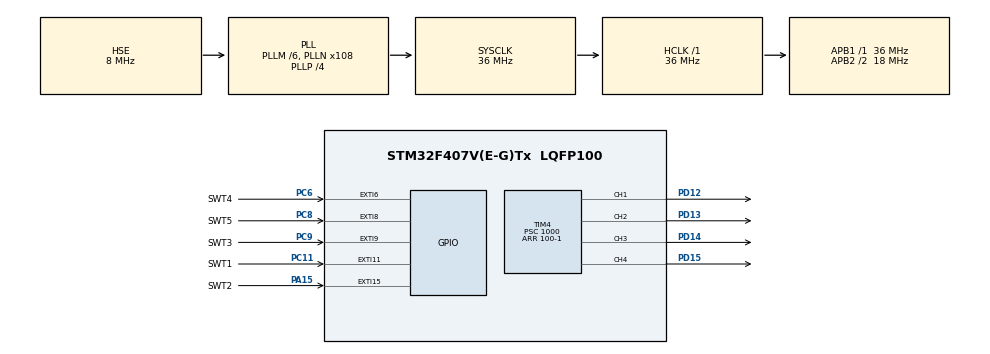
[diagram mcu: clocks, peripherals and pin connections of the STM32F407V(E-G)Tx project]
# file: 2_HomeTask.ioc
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Mcu.Family=STM32F4
Mcu.Name=STM32F407V(E-G)Tx
Mcu.Package=LQFP100
NVIC.EXTI15_10_IRQn=true\:0\:0\:false\:false\:true\:true\:true
NVIC.EXTI9_5_IRQn=true\:0\:0\:false\:false\:true\:true\:true
NVIC.PriorityGroup=NVIC_PRIORITYGROUP_4
PA15.GPIO_Label=SWT2
PA15.GPIO_ModeDefaultEXTI=GPIO_MODE_IT_FALLING
PA15.GPIO_PuPd=GPIO_NOPULL
PA15.Signal=GPXTI15
PC11.GPIO_Label=SWT1
PC11.Signal=GPXTI11
PC6.GPIO_Label=SWT4
PC6.Signal=GPXTI6
PC8.GPIO_Label=SWT5
PC8.Signal=GPXTI8
PC9.GPIO_Label=SWT3
PC9.Signal=GPXTI9
PD12.GPIO_PuPd=GPIO_PULLDOWN
PD12.GPIO_Speed=GPIO_SPEED_FREQ_LOW
PD12.Signal=S_TIM4_CH1
PD13.GPIO_PuPd=GPIO_PULLDOWN
PD13.GPIO_Speed=GPIO_SPEED_FREQ_LOW
PD13.Signal=S_TIM4_CH2
PD14.GPIO_PuPd=GPIO_PULLDOWN
PD14.GPIO_Speed=GPIO_SPEED_FREQ_LOW
PD14.Signal=S_TIM4_CH3
PD15.GPIO_PuPd=GPIO_PULLDOWN
PD15.GPIO_Speed=GPIO_SPEED_FREQ_LOW
PD15.Signal=S_TIM4_CH4
PH0-OSC_IN.Mode=HSE-External-Oscillator
PH0-OSC_IN.Signal=RCC_OSC_IN
PH1-OSC_OUT.Mode=HSE-External-Oscillator
PH1-OSC_OUT.Signal=RCC_OSC_OUT
ProjectManager.HeapSize=0x200
ProjectManager.StackSize=0x400
ProjectManager.TargetToolchain=STM32CubeIDE
RCC.48MHZClocksFreq_Value=36000000
RCC.AHBFreq_Value=36000000
RCC.APB1Freq_Value=36000000
RCC.APB1TimFreq_Value=36000000
RCC.APB2CLKDivider=RCC_HCLK_DIV2
RCC.APB2Freq_Value=18000000
RCC.APB2TimFreq_Value=36000000
RCC.CortexFreq_Value=36000000
RCC.HCLKFreq_Value=36000000
RCC.HSE_VALUE=8000000
RCC.HSI_VALUE=16000000
RCC.LSE_VALUE=32768
RCC.PLLM=6
RCC.PLLN=108
RCC.PLLP=RCC_PLLP_DIV4
RCC.PLLSourceVirtual=RCC_PLLSOURCE_HSE
RCC.SYSCLKFreq_VALUE=36000000
RCC.SYSCLKSource=RCC_SYSCLKSOURCE_PLLCLK
RCC.VCOOutputFreq_Value=144000000
SH.S_TIM4_CH1.0=TIM4_CH1,PWM Generation1 CH1
SH.S_TIM4_CH2.0=TIM4_CH2,PWM Generation2 CH2
SH.S_TIM4_CH3.0=TIM4_CH3,PWM Generation3 CH3
SH.S_TIM4_CH4.0=TIM4_CH4,PWM Generation4 CH4
TIM4.Channel-PWM\ Generation1\ CH1=TIM_CHANNEL_1
TIM4.Channel-PWM\ Generation2\ CH2=TIM_CHANNEL_2
TIM4.Channel-PWM\ Generation3\ CH3=TIM_CHANNEL_3
TIM4.Channel-PWM\ Generation4\ CH4=TIM_CHANNEL_4
TIM4.Period=100-1
TIM4.Prescaler=1000
TIM4.Pulse-PWM\ Generation4\ CH4=0
VP_TIM4_VS_ClockSourceINT.Mode=Internal
board=custom

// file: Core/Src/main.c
/* USER CODE BEGIN Header */
/**
 ******************************************************************************
 * @file           : main.c
 * @brief          : Main program body
 ******************************************************************************
 * @attention
 *
 * <h2><center>&copy; Copyright (c) 2021 STMicroelectronics.
 * All rights reserved.</center></h2>
 *
 * This software component is licensed by ST under BSD 3-Clause license,
 * the "License"; You may not use this file except in compliance with the
 * License. You may obtain a copy of the License at:
 *                        opensource.org/licenses/BSD-3-Clause
 *
 ******************************************************************************
 */
/* USER CODE END Header */
#include "main.h"

/* USER CODE BEGIN PD */
#define DUTYCYCLE_STEP 5
/* USER CODE END PD */

TIM_HandleTypeDef htim4;

/* USER CODE BEGIN PV */
enum {
	DISABLED, GREEN, ORANGE, RED, BLUE
} LED;

enum {
	LEDSELECT, FR_STEP_UP, FR_STEP_DOWN, DC_STEP_UP, DC_STEP_DOWN
} mode;
/* USER CODE END PV */

void SystemClock_Config(void);
static void MX_GPIO_Init(void);
static void MX_TIM4_Init(void);

/* USER CODE BEGIN 0 */
void PMW_Generate(int32_t mode) {
	const uint32_t prescallers[] = { 360, 180, 120, 90, 72, 60, 51, 45, 40, 36 }; //set 1, 2, 3, 4, 5, 6, 7, 8, 9, 10 kHz output PWM frequency
	static uint32_t arr_counter;
	static uint32_t dutyCycle = 10;
	switch (mode) {
	case LEDSELECT: {
		LED = (LED == BLUE) ? DISABLED : (LED + 1);
		break;
	}
	case DC_STEP_UP: {
		dutyCycle = (dutyCycle < 100) ? (dutyCycle + DUTYCYCLE_STEP) : 100;
		break;
	}
	case DC_STEP_DOWN: {
		dutyCycle = (dutyCycle > 0) ? (dutyCycle - DUTYCYCLE_STEP) : 0;
		break;
	}
	case FR_STEP_UP: {
		arr_counter = (arr_counter < 10) ? (arr_counter + 1) : 9;
		TIM4->PSC = prescallers[arr_counter] - 1;
		break;
	}
	case FR_STEP_DOWN: {
		arr_counter = (arr_counter > 0) ? (arr_counter - 1) : 0;
		TIM4->PSC = prescallers[arr_counter] - 1;
		break;
	}
	}
	switch (LED) {
	case DISABLED: {
		TIM4->CCR1 = 0;
		TIM4->CCR2 = 0;
		TIM4->CCR3 = 0;
		TIM4->CCR4 = 0;
		break;
	}
	case GREEN: {
		TIM4->CCR1 = dutyCycle;
		TIM4->CCR2 = 0;
		TIM4->CCR3 = 0;
		TIM4->CCR4 = 0;
		break;
	}
	case ORANGE: {
		TIM4->CCR1 = 0;
		TIM4->CCR2 = dutyCycle;
		TIM4->CCR3 = 0;
		TIM4->CCR4 = 0;
		break;
	}
	case RED: {
		TIM4->CCR1 = 0;
		TIM4->CCR2 = 0;
		TIM4->CCR3 = dutyCycle;
		TIM4->CCR4 = 0;
		break;
	}
	case BLUE: {
		TIM4->CCR1 = 0;
		TIM4->CCR2 = 0;
		TIM4->CCR3 = 0;
		TIM4->CCR4 = dutyCycle;
		break;
	}
	}
}

void HAL_GPIO_EXTI_Callback(uint16_t GPIO_Pin) {
	switch (GPIO_Pin) {
	case SWT2_Pin: {
		PMW_Generate(LEDSELECT); // LED selector
	}
		break;
	case SWT1_Pin: {
		PMW_Generate(DC_STEP_DOWN); // Decrease duty cycle
	}
		break;
	case SWT3_Pin: {
		PMW_Generate(DC_STEP_UP); // Increase duty cycle
	}
		break;
	case SWT4_Pin: {
		PMW_Generate(FR_STEP_UP); // Increase frequency
	}
		break;
	case SWT5_Pin: {
		PMW_Generate(FR_STEP_DOWN); // Decrease frequency
	}
		break;
	}
}
/* USER CODE END 0 */

int main(void) {

	/* MCU Configuration--------------------------------------------------------*/

	/* Reset of all peripherals, Initializes the Flash interface and the Systick. */
	HAL_Init();

	/* Configure the system clock */
	SystemClock_Config();

	/* Initialize all configured peripherals */
	MX_GPIO_Init();
	MX_TIM4_Init();
	/* USER CODE BEGIN 2 */
	HAL_TIM_PWM_Start(&htim4, TIM_CHANNEL_1);
	HAL_TIM_PWM_Start(&htim4, TIM_CHANNEL_2);
	HAL_TIM_PWM_Start(&htim4, TIM_CHANNEL_3);
	HAL_TIM_PWM_Start(&htim4, TIM_CHANNEL_4);
	LED = GREEN; //set startup green LED
	TIM4->PSC = 360 - 1; //set startup prescaller 360-1 to 1000 kHz output PWM frequency
	TIM4->ARR = 100 - 1; //set counter period
	TIM4->CCR1 = 10; //set startup duty cycle for green led channel
	/* USER CODE END 2 */

	/* Infinite loop */
	while (1) {

	}
}

void SystemClock_Config(void) {
	RCC_OscInitTypeDef RCC_OscInitStruct = { 0 };
	RCC_ClkInitTypeDef RCC_ClkInitStruct = { 0 };

	/** Configure the main internal regulator output voltage
	 */
	__HAL_RCC_PWR_CLK_ENABLE();
	__HAL_PWR_VOLTAGESCALING_CONFIG(PWR_REGULATOR_VOLTAGE_SCALE1);
	/** Initializes the RCC Oscillators according to the specified parameters
	 * in the RCC_OscInitTypeDef structure.
	 */
	RCC_OscInitStruct.OscillatorType = RCC_OSCILLATORTYPE_HSE;
	RCC_OscInitStruct.HSEState = RCC_HSE_ON;
	RCC_OscInitStruct.PLL.PLLState = RCC_PLL_ON;
	RCC_OscInitStruct.PLL.PLLSource = RCC_PLLSOURCE_HSE;
	RCC_OscInitStruct.PLL.PLLM = 6;
	RCC_OscInitStruct.PLL.PLLN = 108;
	RCC_OscInitStruct.PLL.PLLP = RCC_PLLP_DIV4;
	RCC_OscInitStruct.PLL.PLLQ = 4;
	if (HAL_RCC_OscConfig(&RCC_OscInitStruct) != HAL_OK) {
		Error_Handler();
	}
	/** Initializes the CPU, AHB and APB buses clocks
	 */
	RCC_ClkInitStruct.ClockType = RCC_CLOCKTYPE_HCLK | RCC_CLOCKTYPE_SYSCLK
			| RCC_CLOCKTYPE_PCLK1 | RCC_CLOCKTYPE_PCLK2;
	RCC_ClkInitStruct.SYSCLKSource = RCC_SYSCLKSOURCE_PLLCLK;
	RCC_ClkInitStruct.AHBCLKDivider = RCC_SYSCLK_DIV1;
	RCC_ClkInitStruct.APB1CLKDivider = RCC_HCLK_DIV1;
	RCC_ClkInitStruct.APB2CLKDivider = RCC_HCLK_DIV2;

	if (HAL_RCC_ClockConfig(&RCC_ClkInitStruct, FLASH_LATENCY_1) != HAL_OK) {
		Error_Handler();
	}
}

static void MX_TIM4_Init(void) {

	TIM_ClockConfigTypeDef sClockSourceConfig = { 0 };
	TIM_MasterConfigTypeDef sMasterConfig = { 0 };
	TIM_OC_InitTypeDef sConfigOC = { 0 };

	htim4.Instance = TIM4;
	htim4.Init.Prescaler = 1000;
	htim4.Init.CounterMode = TIM_COUNTERMODE_UP;
	htim4.Init.Period = 100 - 1;
	htim4.Init.ClockDivision = TIM_CLOCKDIVISION_DIV1;
	htim4.Init.AutoReloadPreload = TIM_AUTORELOAD_PRELOAD_DISABLE;
	if (HAL_TIM_Base_Init(&htim4) != HAL_OK) {
		Error_Handler();
	}
	sClockSourceConfig.ClockSource = TIM_CLOCKSOURCE_INTERNAL;
	if (HAL_TIM_ConfigClockSource(&htim4, &sClockSourceConfig) != HAL_OK) {
		Error_Handler();
	}
	if (HAL_TIM_PWM_Init(&htim4) != HAL_OK) {
		Error_Handler();
	}
	sMasterConfig.MasterOutputTrigger = TIM_TRGO_RESET;
	sMasterConfig.MasterSlaveMode = TIM_MASTERSLAVEMODE_DISABLE;
	if (HAL_TIMEx_MasterConfigSynchronization(&htim4, &sMasterConfig)
			!= HAL_OK) {
		Error_Handler();
	}
	sConfigOC.OCMode = TIM_OCMODE_PWM1;
	sConfigOC.Pulse = 0;
	sConfigOC.OCPolarity = TIM_OCPOLARITY_HIGH;
	sConfigOC.OCFastMode = TIM_OCFAST_DISABLE;
	if (HAL_TIM_PWM_ConfigChannel(&htim4, &sConfigOC, TIM_CHANNEL_1)
			!= HAL_OK) {
		Error_Handler();
	}
	if (HAL_TIM_PWM_ConfigChannel(&htim4, &sConfigOC, TIM_CHANNEL_2)
			!= HAL_OK) {
		Error_Handler();
	}
	if (HAL_TIM_PWM_ConfigChannel(&htim4, &sConfigOC, TIM_CHANNEL_3)
			!= HAL_OK) {
		Error_Handler();
	}
	if (HAL_TIM_PWM_ConfigChannel(&htim4, &sConfigOC, TIM_CHANNEL_4)
			!= HAL_OK) {
		Error_Handler();
	}
	HAL_TIM_MspPostInit(&htim4);

}

static void MX_GPIO_Init(void) {
	GPIO_InitTypeDef GPIO_InitStruct = { 0 };

	/* GPIO Ports Clock Enable */
	__HAL_RCC_GPIOH_CLK_ENABLE();
	__HAL_RCC_GPIOD_CLK_ENABLE();
	__HAL_RCC_GPIOC_CLK_ENABLE();
	__HAL_RCC_GPIOA_CLK_ENABLE();

	/*Configure GPIO pins : SWT4_Pin SWT5_Pin SWT3_Pin SWT1_Pin */
	GPIO_InitStruct.Pin = SWT4_Pin | SWT5_Pin | SWT3_Pin | SWT1_Pin;
	GPIO_InitStruct.Mode = GPIO_MODE_IT_RISING;
	GPIO_InitStruct.Pull = GPIO_NOPULL;
	HAL_GPIO_Init(GPIOC, &GPIO_InitStruct);

	/*Configure GPIO pin : SWT2_Pin */
	GPIO_InitStruct.Pin = SWT2_Pin;
	GPIO_InitStruct.Mode = GPIO_MODE_IT_FALLING;
	GPIO_InitStruct.Pull = GPIO_NOPULL;
	HAL_GPIO_Init(SWT2_GPIO_Port, &GPIO_InitStruct);

	/* EXTI interrupt init*/
	HAL_NVIC_SetPriority(EXTI9_5_IRQn, 0, 0);
	HAL_NVIC_EnableIRQ(EXTI9_5_IRQn);

	HAL_NVIC_SetPriority(EXTI15_10_IRQn, 0, 0);
	HAL_NVIC_EnableIRQ(EXTI15_10_IRQn);

}

void Error_Handler(void) {
	__disable_irq();
	while (1) {
	}
}

/************************ (C) COPYRIGHT STMicroelectronics *****END OF FILE****/
